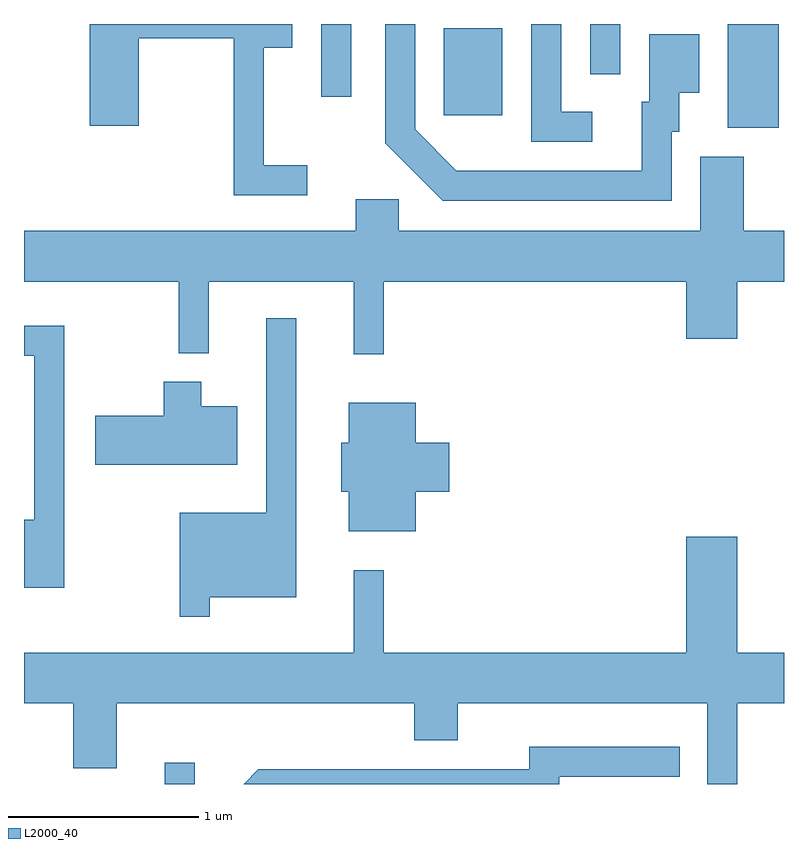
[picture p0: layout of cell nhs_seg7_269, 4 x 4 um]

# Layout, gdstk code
import gdstk
lib = gdstk.Library(unit=1e-6, precision=1e-09)
def R(c, l, rs):  # rectangles x0, y0, x1, y1
    for r in rs: c.add(gdstk.rectangle(r[:2], r[2:], *l))
def P(c, l, *ps):  # polygons
    for p in ps: c.add(gdstk.Polygon(p, *l))
L2000_40 = (2000, 40)

nhs_seg7_269 = lib.new_cell('nhs_seg7_269')
R(nhs_seg7_269, L2000_40, [(192.351,1798.252,192.509,1798.363), (195.316,1801.706,195.584,1802.252), (193.821,1801.771,194.129,1802.229), (193.176,1801.868,193.334,1802.252), (194.591,1801.988,194.749,1802.252)])
P(nhs_seg7_269, L2000_40, [(193.103,1801.509),(192.874,1801.509),(192.874,1802.126),(193.024,1802.126),(193.024,1802.252),(191.956,1802.252),(191.956,1801.716),(192.214,1801.716),(192.214,1802.176),(192.716,1802.176),(192.716,1801.351),(193.103,1801.351)],
  [(194.603,1801.789),(194.439,1801.789),(194.439,1802.252),(194.281,1802.252),(194.281,1801.631),(194.603,1801.631)],
  [(195.019,1801.686),(195.059,1801.686),(195.059,1801.891),(195.164,1801.891),(195.164,1802.199),(194.901,1802.199),(194.901,1801.844),(194.861,1801.844),(194.861,1801.479),(193.887,1801.479),(193.669,1801.697),(193.669,1802.252),(193.511,1802.252),(193.511,1801.624),(193.814,1801.321),(195.019,1801.321)],
  [(193.504,1800.896),(195.096,1800.896),(195.096,1800.596),(195.364,1800.596),(195.364,1800.896),(195.611,1800.896),(195.611,1801.164),(195.399,1801.164),(195.399,1801.554),(195.171,1801.554),(195.171,1801.164),(193.584,1801.164),(193.584,1801.329),(193.356,1801.329),(193.356,1801.164),(191.611,1801.164),(191.611,1800.896),(192.426,1800.896),(192.426,1800.518),(192.584,1800.518),(192.584,1800.896),(193.346,1800.896),(193.346,1800.513),(193.504,1800.513)],
  [(192.589,1799.236),(193.044,1799.236),(193.044,1800.703),(192.886,1800.703),(192.886,1799.679),(192.431,1799.679),(192.431,1799.133),(192.589,1799.133)],
  [(191.824,1800.664),(191.611,1800.664),(191.611,1800.506),(191.666,1800.506),(191.666,1799.644),(191.611,1799.644),(191.611,1799.286),(191.824,1799.286)],
  [(192.734,1800.239),(192.544,1800.239),(192.544,1800.369),(192.346,1800.369),(192.346,1800.189),(191.986,1800.189),(191.986,1799.931),(192.734,1799.931)],
  [(193.674,1799.791),(193.849,1799.791),(193.849,1800.049),(193.674,1800.049),(193.674,1800.259),(193.321,1800.259),(193.321,1800.049),(193.281,1800.049),(193.281,1799.791),(193.321,1799.791),(193.321,1799.581),(193.674,1799.581)],
  [(195.364,1798.676),(195.611,1798.676),(195.611,1798.944),(195.364,1798.944),(195.364,1799.554),(195.096,1799.554),(195.096,1798.944),(193.504,1798.944),(193.504,1799.378),(193.346,1799.378),(193.346,1798.944),(191.611,1798.944),(191.611,1798.676),(191.871,1798.676),(191.871,1798.336),(192.099,1798.336),(192.099,1798.676),(193.666,1798.676),(193.666,1798.481),(193.894,1798.481),(193.894,1798.676),(195.206,1798.676),(195.206,1798.252),(195.364,1798.252)],
  [(194.429,1798.291),(195.063,1798.291),(195.063,1798.449),(194.271,1798.449),(194.271,1798.329),(192.844,1798.329),(192.767,1798.252),(194.429,1798.252)])

lib.write_gds('nhs_seg7_269.gds')
